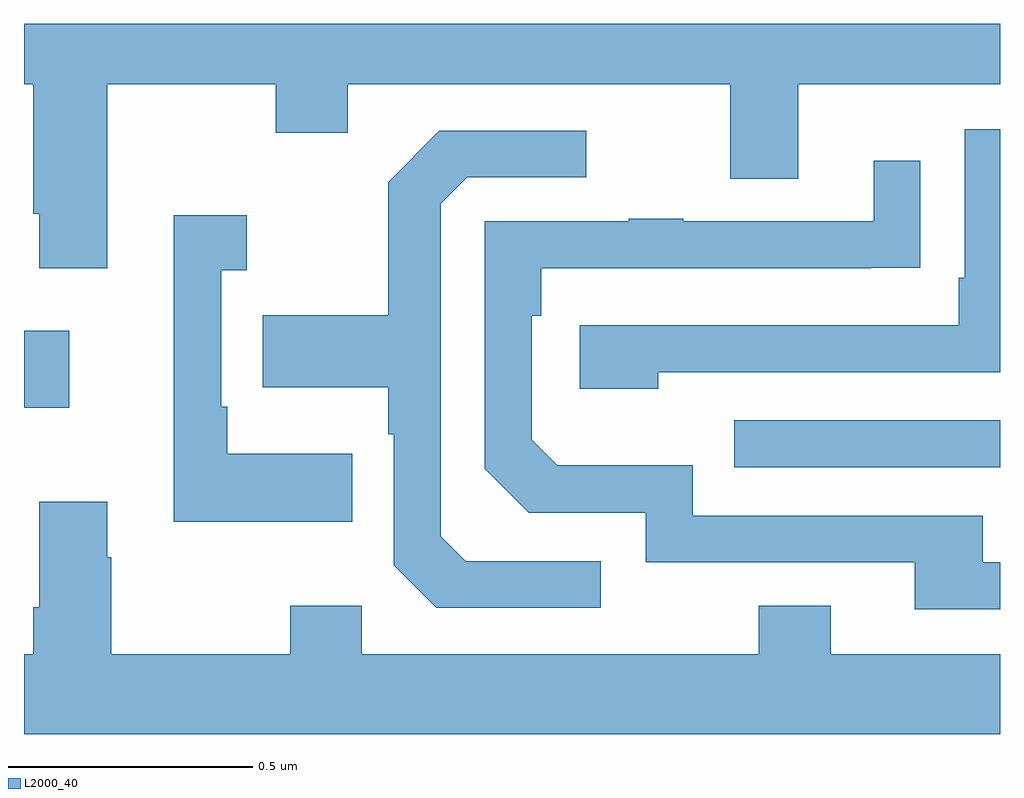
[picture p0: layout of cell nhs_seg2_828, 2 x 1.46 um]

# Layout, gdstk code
import gdstk
lib = gdstk.Library(unit=1e-6, precision=1e-09)
def R(c, l, rs):  # rectangles x0, y0, x1, y1
    for r in rs: c.add(gdstk.rectangle(r[:2], r[2:], *l))
def P(c, l, *ps):  # polygons
    for p in ps: c.add(gdstk.Polygon(p, *l))
L2000_40 = (2000, 40)

nhs_seg2_828 = lib.new_cell('nhs_seg2_828')
R(nhs_seg2_828, L2000_40, [(122.455,606.891,123,606.987), (121,607.013,121.093,607.171)])
P(nhs_seg2_828, L2000_40, [(121.171,607.676),(121.516,607.676),(121.516,607.577),(121.663,607.577),(121.663,607.676),(122.447,607.676),(122.447,607.482),(122.587,607.482),(122.587,607.676),(123,607.676),(123,607.8),(121,607.8),(121,607.676),(121.019,607.676),(121.019,607.411),(121.031,607.411),(121.031,607.299),(121.171,607.299)],
  [(122.3,607.086),(123,607.086),(123,607.584),(122.928,607.584),(122.928,607.279),(122.915,607.279),(122.915,607.182),(122.139,607.182),(122.139,607.052),(122.3,607.052)],
  [(122.182,606.699),(121.905,606.699),(121.854,606.75),(121.854,607.431),(121.908,607.485),(122.152,607.485),(122.152,607.581),(121.851,607.581),(121.746,607.475),(121.746,607.203),(121.489,607.203),(121.489,607.055),(121.746,607.055),(121.746,606.959),(121.758,606.959),(121.758,606.69),(121.845,606.603),(122.182,606.603)],
  [(123,606.696),(122.965,606.696),(122.965,606.792),(122.37,606.792),(122.37,606.895),(122.093,606.895),(122.04,606.948),(122.04,607.202),(122.06,607.202),(122.06,607.299),(122.735,607.299),(122.735,607.3),(122.837,607.3),(122.837,607.519),(122.741,607.519),(122.741,607.395),(122.351,607.395),(122.351,607.4),(122.239,607.4),(122.239,607.395),(121.944,607.395),(121.944,606.888),(122.034,606.798),(122.274,606.798),(122.274,606.696),(122.825,606.696),(122.825,606.6),(123,606.6)],
  [(121.673,606.919),(121.417,606.919),(121.417,607.015),(121.404,607.015),(121.404,607.295),(121.456,607.295),(121.456,607.408),(121.307,607.408),(121.307,606.779),(121.673,606.779)],
  [(123,606.508),(122.653,606.508),(122.653,606.607),(122.506,606.607),(122.506,606.508),(121.692,606.508),(121.692,606.607),(121.546,606.607),(121.546,606.508),(121.179,606.508),(121.179,606.707),(121.171,606.707),(121.171,606.82),(121.031,606.82),(121.031,606.604),(121.019,606.604),(121.019,606.508),(121,606.508),(121,606.344),(123,606.344)])

lib.write_gds('nhs_seg2_828.gds')
